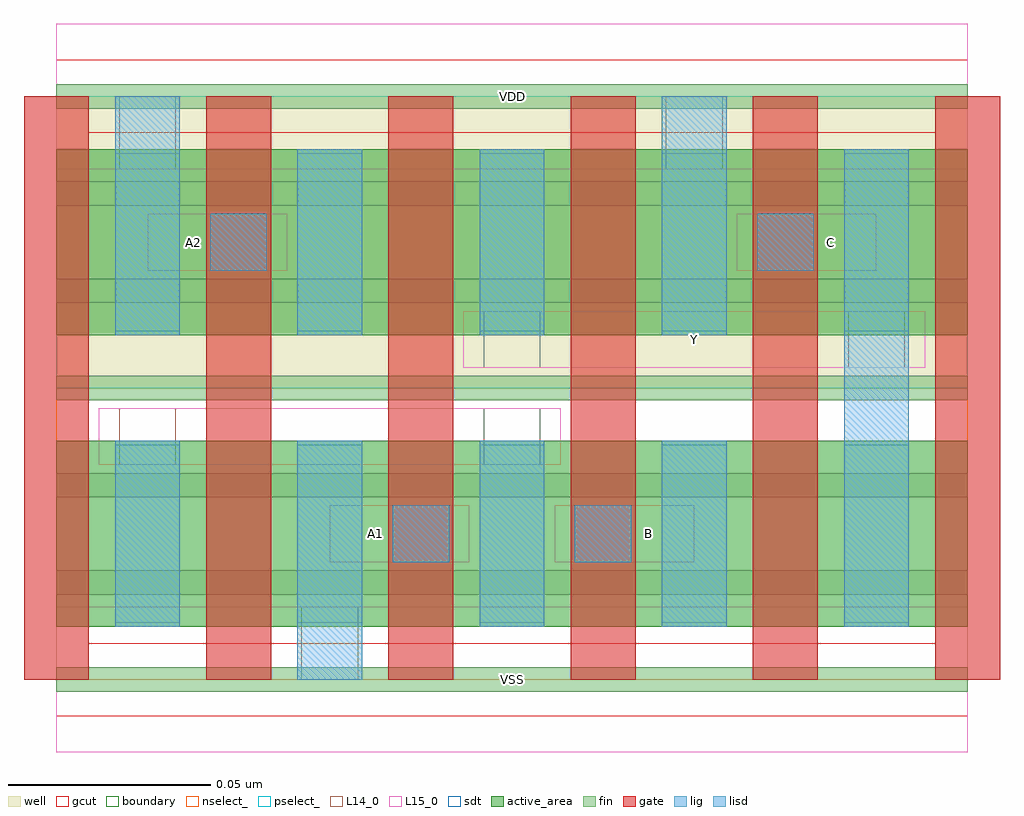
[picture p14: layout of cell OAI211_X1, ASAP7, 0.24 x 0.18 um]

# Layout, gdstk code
import gdstk
lib = gdstk.Library(unit=1e-6, precision=2.5e-10)
def R(c, l, rs):  # rectangles x0, y0, x1, y1
    for r in rs: c.add(gdstk.rectangle(r[:2], r[2:], *l))
def A(c, l, x, y, w, h, nx, ny, dx, dy):  # array of equal rectangles
    R(c, l, [(x+i*dx, y+j*dy, x+i*dx+w, y+j*dy+h) for i in range(nx) for j in range(ny)])
def P(c, l, *ps):  # polygons
    for p in ps: c.add(gdstk.Polygon(p, *l))
well = (1, 0)
fin = (2, 0)
gate = (7, 0)
gcut = (10, 0)
active_area = (11, 0)
nselect_ = (12, 0)
pselect_ = (13, 0)
L14_0 = (14, 0)
L15_0 = (15, 0)
lig = (16, 0)
lisd = (17, 0)
sdt = (88, 0)
boundary = (100, 0)

oai211_x1 = lib.new_cell('OAI211_X1')
R(oai211_x1, well, [(0,0.072,0.225,0.144)])
A(oai211_x1, fin, 0, -0.003, 0.225, 0.006, 1, 7, 0, 0.024)
A(oai211_x1, gate, -0.008, 0, 0.016, 0.144, 6, 1, 0.045, 0)
P(oai211_x1, gcut, [(0,-0.009),(0,0),(-0.008,0),(-0.008,0.135),(0.008,0.135),(0.008,0.009),(0.217,0.009),(0.217,0.135),(-0.008,0.135),(-0.008,0.144),(0,0.144),(0,0.153),(0.225,0.153),(0.225,0.144),(0.233,0.144),(0.233,0),(0.225,0),(0.225,-0.009)])
R(oai211_x1, active_area, [(0,0.013,0.225,0.059), (0,0.085,0.225,0.131)])
R(oai211_x1, nselect_, [(0,0,0.225,0.072)])
R(oai211_x1, pselect_, [(0,0.072,0.225,0.144)])
R(oai211_x1, L14_0, [(0.0605,0,0.0745,0.018), (0.083,0.029,0.097,0.043), (0.128,0.029,0.142,0.043), (0.0155,0.053,0.0295,0.067), (0.1055,0.053,0.1195,0.067), (0.1055,0.077,0.1195,0.091), (0.1955,0.077,0.2095,0.091), (0.038,0.101,0.052,0.115), (0.173,0.101,0.187,0.115), (0.0155,0.126,0.0295,0.144), (0.1505,0.126,0.1645,0.144)])
R(oai211_x1, L15_0, [(0,-0.018,0.225,0.018), (0.0675,0.029,0.102,0.043), (0.123,0.029,0.1575,0.043), (0.0105,0.053,0.1245,0.067), (0.1005,0.077,0.2145,0.091), (0.0225,0.101,0.057,0.115), (0.168,0.101,0.2025,0.115), (0,0.126,0.225,0.162)])
R(oai211_x1, lig, [(0.083,0.029,0.097,0.043), (0.128,0.029,0.142,0.043), (0.038,0.101,0.052,0.115), (0.173,0.101,0.187,0.115)])
R(oai211_x1, lisd, [(0.0595,0,0.0755,0.059), (0.0145,0.013,0.0305,0.059), (0.1045,0.013,0.1205,0.059), (0.1495,0.013,0.1655,0.059), (0.1945,0.013,0.2105,0.131), (0.0145,0.085,0.0305,0.144), (0.0595,0.085,0.0755,0.131), (0.1045,0.085,0.1205,0.131), (0.1495,0.085,0.1655,0.144)])
A(oai211_x1, sdt, 0.0145, 0.014, 0.016, 0.044, 5, 2, 0.045, 0.072)
R(oai211_x1, boundary, [(0,0,0.225,0.144)])
oai211_x1.add(gdstk.Label('C', (0.1913,0.108), layer=15, texttype=251))
oai211_x1.add(gdstk.Label('VSS', (0.1125,0), layer=15, texttype=251))
oai211_x1.add(gdstk.Label('VDD', (0.1125,0.144), layer=15, texttype=251))
oai211_x1.add(gdstk.Label('Y', (0.1575,0.084), layer=15, texttype=251))
oai211_x1.add(gdstk.Label('VSS', (0.1125,0), layer=15, texttype=251))
oai211_x1.add(gdstk.Label('VDD', (0.1125,0.144), layer=15, texttype=251))
oai211_x1.add(gdstk.Label('A1', (0.0788,0.036), layer=15, texttype=251))
oai211_x1.add(gdstk.Label('VSS', (0.1125,0), layer=15, texttype=251))
oai211_x1.add(gdstk.Label('VDD', (0.1125,0.144), layer=15, texttype=251))
oai211_x1.add(gdstk.Label('B', (0.1463,0.036), layer=15, texttype=251))
oai211_x1.add(gdstk.Label('VSS', (0.1125,0), layer=15, texttype=251))
oai211_x1.add(gdstk.Label('VDD', (0.1125,0.144), layer=15, texttype=251))
oai211_x1.add(gdstk.Label('A2', (0.0338,0.108), layer=15, texttype=251))
oai211_x1.add(gdstk.Label('VSS', (0.1125,0), layer=15, texttype=251))
oai211_x1.add(gdstk.Label('VDD', (0.1125,0.144), layer=15, texttype=251))
oai211_x1.add(gdstk.Label('VSS', (0.1125,0), layer=3, texttype=251))
oai211_x1.add(gdstk.Label('VSS', (0.1125,0), layer=3, texttype=251))
oai211_x1.add(gdstk.Label('VSS', (0.1125,0), layer=3, texttype=251))
oai211_x1.add(gdstk.Label('VSS', (0.1125,0), layer=3, texttype=251))
oai211_x1.add(gdstk.Label('VSS', (0.1125,0), layer=3, texttype=251))
oai211_x1.add(gdstk.Label('VDD', (0.1125,0.144), layer=1, texttype=251))
oai211_x1.add(gdstk.Label('VDD', (0.1125,0.144), layer=1, texttype=251))
oai211_x1.add(gdstk.Label('VDD', (0.1125,0.144), layer=1, texttype=251))
oai211_x1.add(gdstk.Label('VDD', (0.1125,0.144), layer=1, texttype=251))
oai211_x1.add(gdstk.Label('VDD', (0.1125,0.144), layer=1, texttype=251))

lib.write_gds('OAI211_X1.gds')
